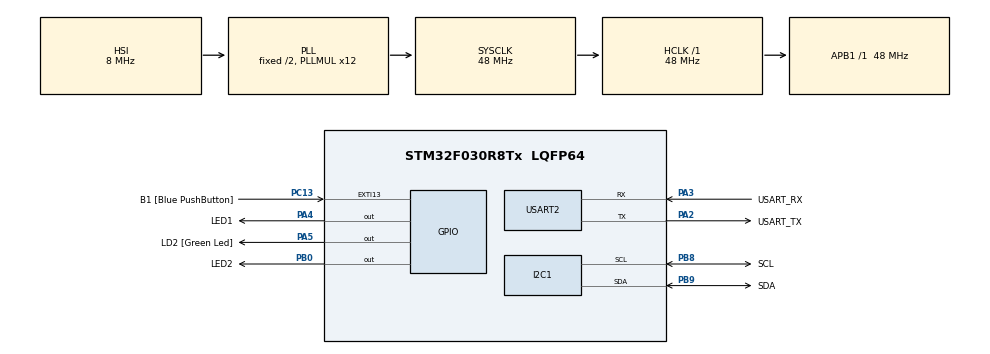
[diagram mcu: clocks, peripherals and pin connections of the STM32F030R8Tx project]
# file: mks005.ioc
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Dma.Request0=USART2_RX
Dma.USART2_RX.0.Direction=DMA_PERIPH_TO_MEMORY
Dma.USART2_RX.0.Instance=DMA1_Channel5
Dma.USART2_RX.0.MemDataAlignment=DMA_MDATAALIGN_BYTE
Dma.USART2_RX.0.MemInc=DMA_MINC_ENABLE
Dma.USART2_RX.0.Mode=DMA_CIRCULAR
Dma.USART2_RX.0.PeriphDataAlignment=DMA_PDATAALIGN_BYTE
Dma.USART2_RX.0.PeriphInc=DMA_PINC_DISABLE
Dma.USART2_RX.0.Priority=DMA_PRIORITY_LOW
I2C1.Timing=0x00201D2B
Mcu.Family=STM32F0
Mcu.Name=STM32F030R8Tx
Mcu.Package=LQFP64
NVIC.DMA1_Channel4_5_IRQn=true\:0\:0\:false\:false\:true\:false\:true\:true
PA13.GPIO_Label=TMS
PA13.Mode=Serial_Wire
PA13.Signal=SYS_SWDIO
PA14.GPIO_Label=TCK
PA14.Mode=Serial_Wire
PA14.Signal=SYS_SWCLK
PA2.GPIO_Label=USART_TX
PA2.GPIO_Mode=GPIO_MODE_AF_PP
PA2.GPIO_PuPd=GPIO_NOPULL
PA2.GPIO_Speed=GPIO_SPEED_FREQ_LOW
PA2.Mode=Asynchronous
PA2.Signal=USART2_TX
PA3.GPIO_Label=USART_RX
PA3.GPIO_Mode=GPIO_MODE_AF_PP
PA3.GPIO_PuPd=GPIO_NOPULL
PA3.GPIO_Speed=GPIO_SPEED_FREQ_LOW
PA3.Mode=Asynchronous
PA3.Signal=USART2_RX
PA4.GPIO_Label=LED1
PA4.Signal=GPIO_Output
PA5.GPIO_Label=LD2 [Green Led]
PA5.GPIO_Mode=GPIO_MODE_OUTPUT_PP
PA5.GPIO_PuPd=GPIO_NOPULL
PA5.GPIO_Speed=GPIO_SPEED_FREQ_LOW
PA5.Signal=GPIO_Output
PB0.GPIO_Label=LED2
PB0.Signal=GPIO_Output
PB8.GPIO_Label=SCL
PB8.Mode=I2C
PB8.Signal=I2C1_SCL
PB9.GPIO_Label=SDA
PB9.Mode=I2C
PB9.Signal=I2C1_SDA
PC13.GPIO_Label=B1 [Blue PushButton]
PC13.GPIO_ModeDefaultEXTI=GPIO_MODE_IT_FALLING
PC13.Signal=GPXTI13
PC14-OSC32_IN.Mode=LSE-External-Oscillator
PC14-OSC32_IN.Signal=RCC_OSC32_IN
PC15-OSC32_OUT.Mode=LSE-External-Oscillator
PC15-OSC32_OUT.Signal=RCC_OSC32_OUT
PF0-OSC_IN.Mode=HSE-External-Clock-Source
PF0-OSC_IN.Signal=RCC_OSC_IN
PF1-OSC_OUT.Signal=RCC_OSC_OUT
ProjectManager.HeapSize=0x200
ProjectManager.StackSize=0x400
ProjectManager.TargetToolchain=STM32CubeIDE
RCC.AHBFreq_Value=48000000
RCC.APB1Freq_Value=48000000
RCC.APB1TimFreq_Value=48000000
RCC.HCLKFreq_Value=48000000
RCC.PLLMUL=RCC_PLL_MUL12
RCC.SYSCLKFreq_VALUE=48000000
RCC.SYSCLKSource=RCC_SYSCLKSOURCE_PLLCLK
USART2.VirtualMode-Asynchronous=VM_ASYNC
board=NUCLEO-F030R8

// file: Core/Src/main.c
/* USER CODE BEGIN Header */
/**
 ******************************************************************************
 * @file           : main.c
 * @brief          : Main program body
 ******************************************************************************
 * @attention
 *
 * Copyright (c) 2025 STMicroelectronics.
 * All rights reserved.
 *
 * This software is licensed under terms that can be found in the LICENSE file
 * in the root directory of this software component.
 * If no LICENSE file comes with this software, it is provided AS-IS.
 *
 ******************************************************************************
 */
/* USER CODE END Header */
#include "main.h"

/* USER CODE BEGIN Includes */
#include <stdlib.h>
#include <string.h>
#include <stdio.h>
/* USER CODE END Includes */

I2C_HandleTypeDef hi2c1;

UART_HandleTypeDef huart2;
DMA_HandleTypeDef hdma_usart2_rx;

void SystemClock_Config(void);
static void MX_GPIO_Init(void);
static void MX_DMA_Init(void);
static void MX_USART2_UART_Init(void);
static void MX_I2C1_Init(void);
/* USER CODE BEGIN PFP */

#define RX_BUFFER_LEN 64
static uint8_t uart_rx_buf[RX_BUFFER_LEN];
static volatile uint16_t uart_rx_read_ptr = 0;
#define uart_rx_write_ptr (RX_BUFFER_LEN - hdma_usart2_rx.Instance->CNDTR)

#define CMD_BUFFER_LEN 256

#define EEPROM_ADDR 0xA0

/* USER CODE END PFP */

/* USER CODE BEGIN 0 */

int _write(int file, char const *buf, int n)
{
	/* stdout redirection to UART2 */
	HAL_UART_Transmit(&huart2, (uint8_t*)(buf), n, HAL_MAX_DELAY);
	return n;
}

static void uart_process_command(char *cmd)
{
	printf("received: '%s'\r\n", cmd);

	char *token;
	token = strtok(cmd, " ");
	if (token == NULL) return;
	if (strcasecmp(token, "HELLO") == 0) {
		printf("Communication OK\n");
	}
	else if (strcasecmp(token, "LED1") == 0) {
		token = strtok(NULL, " ");

		if (strcasecmp(token, "ON") == 0) {
			HAL_GPIO_WritePin(LED1_GPIO_Port, LED1_Pin, GPIO_PIN_SET);
		} else if (strcasecmp(token, "OFF") == 0) {
			HAL_GPIO_WritePin(LED1_GPIO_Port, LED1_Pin, GPIO_PIN_RESET);
		}
		printf("OK\n");
	}
	else if (strcasecmp(token, "LED2") == 0) {
		token = strtok(NULL, " ");

		if (strcasecmp(token, "ON") == 0) {
			HAL_GPIO_WritePin(LED2_GPIO_Port, LED2_Pin, GPIO_PIN_SET);

		} else if (strcasecmp(token, "OFF") == 0) {
			HAL_GPIO_WritePin(LED2_GPIO_Port, LED2_Pin, GPIO_PIN_RESET);
		}
		printf("OK\r\n");
	}
	else if (strcasecmp(token, "STATUS") == 0) {
		GPIO_PinState led1_state = HAL_GPIO_ReadPin(LED1_GPIO_Port, LED1_Pin);
		GPIO_PinState led2_state = HAL_GPIO_ReadPin(LED2_GPIO_Port, LED2_Pin);

		printf("LED1: %s\r\n", (led1_state == GPIO_PIN_SET) ? "ON" : "OFF");
		printf("LED2: %s\r\n", (led2_state == GPIO_PIN_SET) ? "ON" : "OFF");
	}

	else if (strcasecmp(token, "READ") == 0)
	{
		token = strtok(NULL, " ");
		uint16_t addr = atoi(token);
		uint8_t value = 0;
		if (HAL_I2C_Mem_Read(&hi2c1, EEPROM_ADDR, addr, I2C_MEMADD_SIZE_16BIT, &value, 1, 1000) == HAL_OK)
		{
			printf("Address 0x%04X = 0x%02X\r\n", addr, value);
		}
	}
	else if (strcasecmp(token, "WRITE") == 0)
	{
		char *addr_str = strtok(NULL, " ");
		char *val_str = strtok(NULL, " ");
		uint16_t addr = atoi(addr_str);
		uint8_t value = atoi(val_str);
		if (HAL_I2C_Mem_Write(&hi2c1, EEPROM_ADDR, addr, I2C_MEMADD_SIZE_16BIT, &value, 1, 1000) == HAL_OK)
		{
			/* Check if the EEPROM is ready for a new operation */
			while (HAL_I2C_IsDeviceReady(&hi2c1, EEPROM_ADDR, 300, 1000) != HAL_OK) {}
			printf("OK\r\n");
		}
	}
	else if (strcasecmp(token, "DUMP") == 0)
	{
		uint8_t data[16];
		if (HAL_I2C_Mem_Read(&hi2c1, EEPROM_ADDR, 0x0000, I2C_MEMADD_SIZE_16BIT, data, 16, 1000) == HAL_OK)
		{
			for (int i = 0; i < 16; i++)
			{
				printf("%02X ", data[i]);
				if (i == 7) printf("\r\n");
			}
			printf("\r\n");
		}
	}
}

static void uart_byte_available(uint8_t c)
{
	static uint16_t cnt;
	static char data[CMD_BUFFER_LEN];
	if (cnt < CMD_BUFFER_LEN && c >= 32 && c <= 126) data[cnt++] = c;
	if ((c == '\n' || c == '\r') && cnt > 0) {
		data[cnt] = '\0';
		uart_process_command(data);
		cnt = 0;
	}
}

/* USER CODE END 0 */

int main(void)
{

	/* MCU Configuration--------------------------------------------------------*/

	/* Reset of all peripherals, Initializes the Flash interface and the Systick. */
	HAL_Init();

	/* Configure the system clock */
	SystemClock_Config();

	/* Initialize all configured peripherals */
	MX_GPIO_Init();
	MX_DMA_Init();
	MX_USART2_UART_Init();
	MX_I2C1_Init();
	/* USER CODE BEGIN 2 */

	HAL_UART_Receive_DMA(&huart2, uart_rx_buf, RX_BUFFER_LEN);

	/* USER CODE END 2 */

	/* Infinite loop */
	while (1)
	{

		/* USER CODE BEGIN 3 */
		/*
	uint8_t c;
	HAL_UART_Receive(&huart2, &c, 1, HAL_MAX_DELAY);
	HAL_UART_Transmit(&huart2, &c, 1, HAL_MAX_DELAY);
		 */

		while (uart_rx_read_ptr != uart_rx_write_ptr) {
			uint8_t b = uart_rx_buf[uart_rx_read_ptr];
			// increase read pointer
			if (++uart_rx_read_ptr >= RX_BUFFER_LEN) uart_rx_read_ptr = 0;
			// process every received byte with the RX state machine
			uart_byte_available(b);
		}

	}
	/* USER CODE END 3 */
}

void SystemClock_Config(void)
{
	RCC_OscInitTypeDef RCC_OscInitStruct = {0};
	RCC_ClkInitTypeDef RCC_ClkInitStruct = {0};
	RCC_PeriphCLKInitTypeDef PeriphClkInit = {0};

	/** Initializes the RCC Oscillators according to the specified parameters
	 * in the RCC_OscInitTypeDef structure.
	 */
	RCC_OscInitStruct.OscillatorType = RCC_OSCILLATORTYPE_HSI;
	RCC_OscInitStruct.HSIState = RCC_HSI_ON;
	RCC_OscInitStruct.HSICalibrationValue = RCC_HSICALIBRATION_DEFAULT;
	RCC_OscInitStruct.PLL.PLLState = RCC_PLL_ON;
	RCC_OscInitStruct.PLL.PLLSource = RCC_PLLSOURCE_HSI;
	RCC_OscInitStruct.PLL.PLLMUL = RCC_PLL_MUL12;
	RCC_OscInitStruct.PLL.PREDIV = RCC_PREDIV_DIV1;
	if (HAL_RCC_OscConfig(&RCC_OscInitStruct) != HAL_OK)
	{
		Error_Handler();
	}

	/** Initializes the CPU, AHB and APB buses clocks
	 */
	RCC_ClkInitStruct.ClockType = RCC_CLOCKTYPE_HCLK|RCC_CLOCKTYPE_SYSCLK
			|RCC_CLOCKTYPE_PCLK1;
	RCC_ClkInitStruct.SYSCLKSource = RCC_SYSCLKSOURCE_PLLCLK;
	RCC_ClkInitStruct.AHBCLKDivider = RCC_SYSCLK_DIV1;
	RCC_ClkInitStruct.APB1CLKDivider = RCC_HCLK_DIV1;

	if (HAL_RCC_ClockConfig(&RCC_ClkInitStruct, FLASH_LATENCY_1) != HAL_OK)
	{
		Error_Handler();
	}
	PeriphClkInit.PeriphClockSelection = RCC_PERIPHCLK_I2C1;
	PeriphClkInit.I2c1ClockSelection = RCC_I2C1CLKSOURCE_HSI;
	if (HAL_RCCEx_PeriphCLKConfig(&PeriphClkInit) != HAL_OK)
	{
		Error_Handler();
	}
}

static void MX_I2C1_Init(void)
{

	hi2c1.Instance = I2C1;
	hi2c1.Init.Timing = 0x00201D2B;
	hi2c1.Init.OwnAddress1 = 0;
	hi2c1.Init.AddressingMode = I2C_ADDRESSINGMODE_7BIT;
	hi2c1.Init.DualAddressMode = I2C_DUALADDRESS_DISABLE;
	hi2c1.Init.OwnAddress2 = 0;
	hi2c1.Init.OwnAddress2Masks = I2C_OA2_NOMASK;
	hi2c1.Init.GeneralCallMode = I2C_GENERALCALL_DISABLE;
	hi2c1.Init.NoStretchMode = I2C_NOSTRETCH_DISABLE;
	if (HAL_I2C_Init(&hi2c1) != HAL_OK)
	{
		Error_Handler();
	}

	/** Configure Analogue filter
	 */
	if (HAL_I2CEx_ConfigAnalogFilter(&hi2c1, I2C_ANALOGFILTER_ENABLE) != HAL_OK)
	{
		Error_Handler();
	}

	/** Configure Digital filter
	 */
	if (HAL_I2CEx_ConfigDigitalFilter(&hi2c1, 0) != HAL_OK)
	{
		Error_Handler();
	}

}

static void MX_USART2_UART_Init(void)
{

	huart2.Instance = USART2;
	huart2.Init.BaudRate = 38400;
	huart2.Init.WordLength = UART_WORDLENGTH_8B;
	huart2.Init.StopBits = UART_STOPBITS_1;
	huart2.Init.Parity = UART_PARITY_NONE;
	huart2.Init.Mode = UART_MODE_TX_RX;
	huart2.Init.HwFlowCtl = UART_HWCONTROL_NONE;
	huart2.Init.OverSampling = UART_OVERSAMPLING_16;
	huart2.Init.OneBitSampling = UART_ONE_BIT_SAMPLE_DISABLE;
	huart2.AdvancedInit.AdvFeatureInit = UART_ADVFEATURE_NO_INIT;
	if (HAL_UART_Init(&huart2) != HAL_OK)
	{
		Error_Handler();
	}

}

static void MX_DMA_Init(void)
{

	/* DMA controller clock enable */
	__HAL_RCC_DMA1_CLK_ENABLE();

	/* DMA interrupt init */
	/* DMA1_Channel4_5_IRQn interrupt configuration */
	HAL_NVIC_SetPriority(DMA1_Channel4_5_IRQn, 0, 0);
	HAL_NVIC_EnableIRQ(DMA1_Channel4_5_IRQn);

}

static void MX_GPIO_Init(void)
{
	GPIO_InitTypeDef GPIO_InitStruct = {0};

	/* GPIO Ports Clock Enable */
	__HAL_RCC_GPIOC_CLK_ENABLE();
	__HAL_RCC_GPIOF_CLK_ENABLE();
	__HAL_RCC_GPIOA_CLK_ENABLE();
	__HAL_RCC_GPIOB_CLK_ENABLE();

	/*Configure GPIO pin Output Level */
	HAL_GPIO_WritePin(GPIOA, LED1_Pin|LD2_Pin, GPIO_PIN_RESET);

	/*Configure GPIO pin Output Level */
	HAL_GPIO_WritePin(LED2_GPIO_Port, LED2_Pin, GPIO_PIN_RESET);

	/*Configure GPIO pin : B1_Pin */
	GPIO_InitStruct.Pin = B1_Pin;
	GPIO_InitStruct.Mode = GPIO_MODE_IT_FALLING;
	GPIO_InitStruct.Pull = GPIO_NOPULL;
	HAL_GPIO_Init(B1_GPIO_Port, &GPIO_InitStruct);

	/*Configure GPIO pins : LED1_Pin LD2_Pin */
	GPIO_InitStruct.Pin = LED1_Pin|LD2_Pin;
	GPIO_InitStruct.Mode = GPIO_MODE_OUTPUT_PP;
	GPIO_InitStruct.Pull = GPIO_NOPULL;
	GPIO_InitStruct.Speed = GPIO_SPEED_FREQ_LOW;
	HAL_GPIO_Init(GPIOA, &GPIO_InitStruct);

	/*Configure GPIO pin : LED2_Pin */
	GPIO_InitStruct.Pin = LED2_Pin;
	GPIO_InitStruct.Mode = GPIO_MODE_OUTPUT_PP;
	GPIO_InitStruct.Pull = GPIO_NOPULL;
	GPIO_InitStruct.Speed = GPIO_SPEED_FREQ_LOW;
	HAL_GPIO_Init(LED2_GPIO_Port, &GPIO_InitStruct);

}

void Error_Handler(void)
{
	__disable_irq();
	while (1)
	{
	}
}
